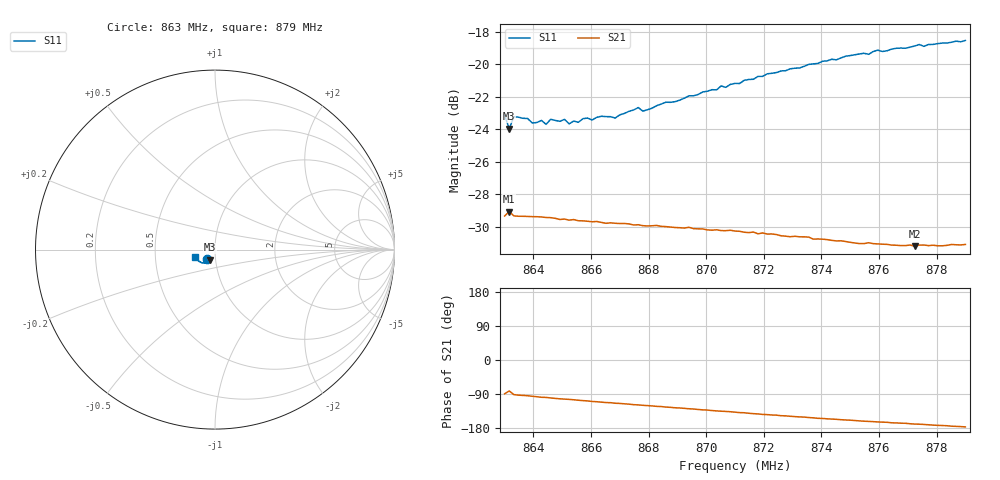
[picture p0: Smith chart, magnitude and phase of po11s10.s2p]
# HZ S RI R 50
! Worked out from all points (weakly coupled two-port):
!   101 points, 863 MHz to 879 MHz, reference 50 ohm
!   highest |S21| = -29.07 dB at 863.16 MHz (marker M1); lowest = -31.2 dB at 877.24 MHz (marker M2)
!   lowest |S11| = -24.0 dB at 863.16 MHz (marker M3), VSWR 1.14, Z = 46.8 - j5.21 ohm
!   |S11| at or under -10 dB: start of sweep to end of sweep
!   S12 and S22 are empty: the file has one direction only
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8.63e8  -0.0444 -0.0538  0.000497 -0.0341  0 0  0 0
8.6316e8  -0.0303 -0.0555  0.00509 -0.0348  0 0  0 0
8.6332e8  -0.043 -0.0538  -0.000794 -0.0341  0 0  0 0
8.638e8  -0.0417 -0.0538  -0.00255 -0.0339  0 0  0 0
8.6396e8  -0.0391 -0.053  -0.00339 -0.0337  0 0  0 0
8.6428e8  -0.0382 -0.0552  -0.00493 -0.0335  0 0  0 0
8.6444e8  -0.0379 -0.0532  -0.00512 -0.0333  0 0  0 0
8.646e8  -0.0381 -0.0559  -0.00592 -0.0332  0 0  0 0
8.6508e8  -0.036 -0.0573  -0.00764 -0.0325  0 0  0 0
8.6524e8  -0.0361 -0.0547  -0.00799 -0.0321  0 0  0 0
8.6572e8  -0.0351 -0.0582  -0.00972 -0.0315  0 0  0 0
8.6604e8  -0.0352 -0.0574  -0.0109 -0.0308  0 0  0 0
8.6636e8  -0.0356 -0.0593  -0.0118 -0.0304  0 0  0 0
8.6684e8  -0.0339 -0.0592  -0.0132 -0.0295  0 0  0 0
8.6764e8  -0.0364 -0.0639  -0.0153 -0.0282  0 0  0 0
8.678e8  -0.0358 -0.0622  -0.0157 -0.0277  0 0  0 0
8.6844e8  -0.0361 -0.0662  -0.0172 -0.0266  0 0  0 0
8.71e8  -0.0477 -0.0731  -0.0226 -0.0207  0 0  0 0
8.7372e8  -0.067 -0.0746  -0.0257 -0.0133  0 0  0 0
8.7644e8  -0.0928 -0.0616  -0.0269 -0.00684  0 0  0 0
8.7724e8  -0.0986 -0.0569  -0.027 -0.00524  0 0  0 0
8.79e8  -0.1115 -0.0399  -0.0278 -0.00166  0 0  0 0
